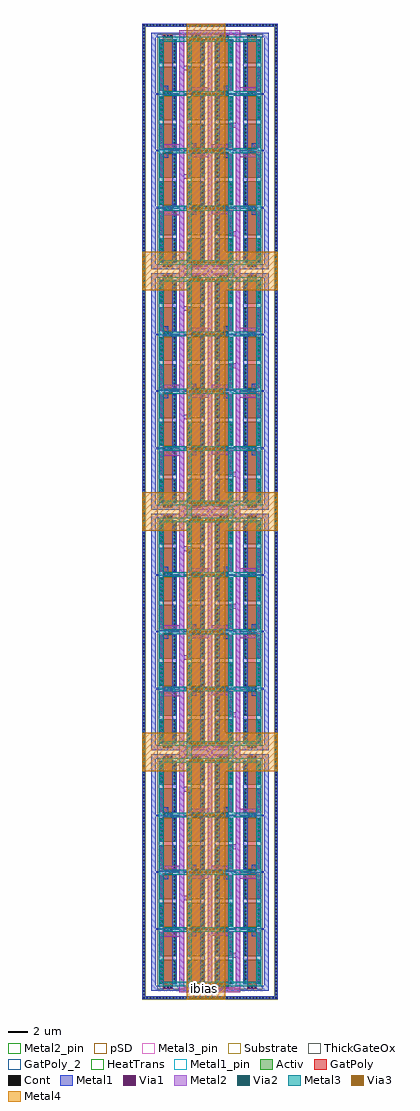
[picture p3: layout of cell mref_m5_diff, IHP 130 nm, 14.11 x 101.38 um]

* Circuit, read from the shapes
.subckt mref_m5_diff avss ibias tail
XM1 n1 ibias avss avss sg13_hv_nmos w=2.5u l=1u
XM2 n1 ibias tail avss sg13_hv_nmos w=2.5u l=1u
XM3 n2 ibias avss avss sg13_hv_nmos w=2.5u l=1u
XM4 n2 ibias ibias avss sg13_hv_nmos w=2.5u l=1u
XM5 n3 ibias tail avss sg13_hv_nmos w=2.5u l=1u
XM6 n3 ibias avss avss sg13_hv_nmos w=2.5u l=1u
XM7 n4 ibias ibias avss sg13_hv_nmos w=2.5u l=1u
XM8 n4 ibias avss avss sg13_hv_nmos w=2.5u l=1u
XM9 n5 ibias avss avss sg13_hv_nmos w=2.5u l=1u
XM10 n5 ibias tail avss sg13_hv_nmos w=2.5u l=1u
XM11 n6 ibias avss avss sg13_hv_nmos w=2.5u l=1u
XM12 n6 ibias ibias avss sg13_hv_nmos w=2.5u l=1u
XM13 n7 ibias tail avss sg13_hv_nmos w=2.5u l=1u
XM14 n7 ibias avss avss sg13_hv_nmos w=2.5u l=1u
XM15 n8 ibias ibias avss sg13_hv_nmos w=2.5u l=1u
XM16 n8 ibias avss avss sg13_hv_nmos w=2.5u l=1u
XM17 n9 ibias avss avss sg13_hv_nmos w=2.5u l=1u
XM18 n9 ibias tail avss sg13_hv_nmos w=2.5u l=1u
XM19 n10 ibias avss avss sg13_hv_nmos w=2.5u l=1u
XM20 n10 ibias ibias avss sg13_hv_nmos w=2.5u l=1u
XM21 n11 ibias tail avss sg13_hv_nmos w=2.5u l=1u
XM22 n11 ibias avss avss sg13_hv_nmos w=2.5u l=1u
XM23 n12 ibias ibias avss sg13_hv_nmos w=2.5u l=1u
XM24 n12 ibias avss avss sg13_hv_nmos w=2.5u l=1u
XM25 n13 ibias avss avss sg13_hv_nmos w=2.5u l=1u
XM26 n13 ibias tail avss sg13_hv_nmos w=2.5u l=1u
XM27 n14 ibias avss avss sg13_hv_nmos w=2.5u l=1u
XM28 n14 ibias ibias avss sg13_hv_nmos w=2.5u l=1u
XM29 n15 ibias tail avss sg13_hv_nmos w=2.5u l=1u
XM30 n15 ibias avss avss sg13_hv_nmos w=2.5u l=1u
XM31 n16 ibias ibias avss sg13_hv_nmos w=2.5u l=1u
XM32 n16 ibias avss avss sg13_hv_nmos w=2.5u l=1u
XM33 n17 ibias avss avss sg13_hv_nmos w=2.5u l=1u
XM34 n17 ibias ibias avss sg13_hv_nmos w=2.5u l=1u
XM35 n18 ibias avss avss sg13_hv_nmos w=2.5u l=1u
XM36 n18 ibias tail avss sg13_hv_nmos w=2.5u l=1u
XM37 n19 ibias ibias avss sg13_hv_nmos w=2.5u l=1u
XM38 n19 ibias avss avss sg13_hv_nmos w=2.5u l=1u
XM39 n20 ibias tail avss sg13_hv_nmos w=2.5u l=1u
XM40 n20 ibias avss avss sg13_hv_nmos w=2.5u l=1u
XM41 n21 ibias avss avss sg13_hv_nmos w=2.5u l=1u
XM42 n21 ibias ibias avss sg13_hv_nmos w=2.5u l=1u
XM43 n22 ibias avss avss sg13_hv_nmos w=2.5u l=1u
XM44 n22 ibias tail avss sg13_hv_nmos w=2.5u l=1u
XM45 n23 ibias ibias avss sg13_hv_nmos w=2.5u l=1u
XM46 n23 ibias avss avss sg13_hv_nmos w=2.5u l=1u
XM47 n24 ibias tail avss sg13_hv_nmos w=2.5u l=1u
XM48 n24 ibias avss avss sg13_hv_nmos w=2.5u l=1u
XM49 n25 ibias avss avss sg13_hv_nmos w=2.5u l=1u
XM50 n25 ibias ibias avss sg13_hv_nmos w=2.5u l=1u
XM51 n26 ibias avss avss sg13_hv_nmos w=2.5u l=1u
XM52 n26 ibias tail avss sg13_hv_nmos w=2.5u l=1u
XM53 n27 ibias ibias avss sg13_hv_nmos w=2.5u l=1u
XM54 n27 ibias avss avss sg13_hv_nmos w=2.5u l=1u
XM55 n28 ibias tail avss sg13_hv_nmos w=2.5u l=1u
XM56 n28 ibias avss avss sg13_hv_nmos w=2.5u l=1u
XM57 n29 ibias avss avss sg13_hv_nmos w=2.5u l=1u
XM58 n29 ibias ibias avss sg13_hv_nmos w=2.5u l=1u
XM59 n30 ibias avss avss sg13_hv_nmos w=2.5u l=1u
XM60 n30 ibias tail avss sg13_hv_nmos w=2.5u l=1u
XM61 n31 ibias ibias avss sg13_hv_nmos w=2.5u l=1u
XM62 n31 ibias avss avss sg13_hv_nmos w=2.5u l=1u
XM63 n32 ibias tail avss sg13_hv_nmos w=2.5u l=1u
XM64 n32 ibias avss avss sg13_hv_nmos w=2.5u l=1u
XM65 avss ibias n33 avss sg13_hv_nmos w=2.5u l=1u
XM66 tail ibias n33 avss sg13_hv_nmos w=2.5u l=1u
XM67 avss ibias n34 avss sg13_hv_nmos w=2.5u l=1u
XM68 ibias ibias n34 avss sg13_hv_nmos w=2.5u l=1u
XM69 tail ibias n35 avss sg13_hv_nmos w=2.5u l=1u
XM70 avss ibias n35 avss sg13_hv_nmos w=2.5u l=1u
XM71 ibias ibias n36 avss sg13_hv_nmos w=2.5u l=1u
XM72 avss ibias n36 avss sg13_hv_nmos w=2.5u l=1u
XM73 avss ibias n37 avss sg13_hv_nmos w=2.5u l=1u
XM74 tail ibias n37 avss sg13_hv_nmos w=2.5u l=1u
XM75 avss ibias n38 avss sg13_hv_nmos w=2.5u l=1u
XM76 ibias ibias n38 avss sg13_hv_nmos w=2.5u l=1u
XM77 tail ibias n39 avss sg13_hv_nmos w=2.5u l=1u
XM78 avss ibias n39 avss sg13_hv_nmos w=2.5u l=1u
XM79 ibias ibias n40 avss sg13_hv_nmos w=2.5u l=1u
XM80 avss ibias n40 avss sg13_hv_nmos w=2.5u l=1u
XM81 avss ibias n41 avss sg13_hv_nmos w=2.5u l=1u
XM82 tail ibias n41 avss sg13_hv_nmos w=2.5u l=1u
XM83 avss ibias n42 avss sg13_hv_nmos w=2.5u l=1u
XM84 ibias ibias n42 avss sg13_hv_nmos w=2.5u l=1u
XM85 tail ibias n43 avss sg13_hv_nmos w=2.5u l=1u
XM86 avss ibias n43 avss sg13_hv_nmos w=2.5u l=1u
XM87 ibias ibias n44 avss sg13_hv_nmos w=2.5u l=1u
XM88 avss ibias n44 avss sg13_hv_nmos w=2.5u l=1u
XM89 avss ibias n45 avss sg13_hv_nmos w=2.5u l=1u
XM90 tail ibias n45 avss sg13_hv_nmos w=2.5u l=1u
XM91 avss ibias n46 avss sg13_hv_nmos w=2.5u l=1u
XM92 ibias ibias n46 avss sg13_hv_nmos w=2.5u l=1u
XM93 tail ibias n47 avss sg13_hv_nmos w=2.5u l=1u
XM94 avss ibias n47 avss sg13_hv_nmos w=2.5u l=1u
XM95 ibias ibias n48 avss sg13_hv_nmos w=2.5u l=1u
XM96 avss ibias n48 avss sg13_hv_nmos w=2.5u l=1u
XM97 avss ibias n49 avss sg13_hv_nmos w=2.5u l=1u
XM98 ibias ibias n49 avss sg13_hv_nmos w=2.5u l=1u
XM99 avss ibias n50 avss sg13_hv_nmos w=2.5u l=1u
XM100 tail ibias n50 avss sg13_hv_nmos w=2.5u l=1u
XM101 ibias ibias n51 avss sg13_hv_nmos w=2.5u l=1u
XM102 avss ibias n51 avss sg13_hv_nmos w=2.5u l=1u
XM103 tail ibias n52 avss sg13_hv_nmos w=2.5u l=1u
XM104 avss ibias n52 avss sg13_hv_nmos w=2.5u l=1u
XM105 avss ibias n53 avss sg13_hv_nmos w=2.5u l=1u
XM106 ibias ibias n53 avss sg13_hv_nmos w=2.5u l=1u
XM107 avss ibias n54 avss sg13_hv_nmos w=2.5u l=1u
XM108 tail ibias n54 avss sg13_hv_nmos w=2.5u l=1u
XM109 ibias ibias n55 avss sg13_hv_nmos w=2.5u l=1u
XM110 avss ibias n55 avss sg13_hv_nmos w=2.5u l=1u
XM111 tail ibias n56 avss sg13_hv_nmos w=2.5u l=1u
XM112 avss ibias n56 avss sg13_hv_nmos w=2.5u l=1u
XM113 avss ibias n57 avss sg13_hv_nmos w=2.5u l=1u
XM114 ibias ibias n57 avss sg13_hv_nmos w=2.5u l=1u
XM115 avss ibias n58 avss sg13_hv_nmos w=2.5u l=1u
XM116 tail ibias n58 avss sg13_hv_nmos w=2.5u l=1u
XM117 ibias ibias n59 avss sg13_hv_nmos w=2.5u l=1u
XM118 avss ibias n59 avss sg13_hv_nmos w=2.5u l=1u
XM119 tail ibias n60 avss sg13_hv_nmos w=2.5u l=1u
XM120 avss ibias n60 avss sg13_hv_nmos w=2.5u l=1u
XM121 avss ibias n61 avss sg13_hv_nmos w=2.5u l=1u
XM122 ibias ibias n61 avss sg13_hv_nmos w=2.5u l=1u
XM123 avss ibias n62 avss sg13_hv_nmos w=2.5u l=1u
XM124 tail ibias n62 avss sg13_hv_nmos w=2.5u l=1u
XM125 ibias ibias n63 avss sg13_hv_nmos w=2.5u l=1u
XM126 avss ibias n63 avss sg13_hv_nmos w=2.5u l=1u
XM127 tail ibias n64 avss sg13_hv_nmos w=2.5u l=1u
XM128 avss ibias n64 avss sg13_hv_nmos w=2.5u l=1u
.ends

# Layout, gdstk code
from math import pi, radians
import gdstk
lib = gdstk.Library(unit=1e-6, precision=1e-09)
def R(c, l, rs):  # rectangles x0, y0, x1, y1
    for r in rs: c.add(gdstk.rectangle(r[:2], r[2:], *l))
def A(c, l, x, y, w, h, nx, ny, dx, dy):  # array of equal rectangles
    R(c, l, [(x+i*dx, y+j*dy, x+i*dx+w, y+j*dy+h) for i in range(nx) for j in range(ny)])
def P(c, l, *ps):  # polygons
    for p in ps: c.add(gdstk.Polygon(p, *l))
Activ = (1, 0)
GatPoly = (5, 0)
GatPoly_2 = (5, 2)
Cont = (6, 0)
Metal1 = (8, 0)
Metal1_pin = (8, 2)
Metal2 = (10, 0)
Metal2_pin = (10, 2)
pSD = (14, 0)
Via1 = (19, 0)
Via2 = (29, 0)
Metal3 = (30, 0)
Metal3_pin = (30, 2)
Substrate = (40, 0)
ThickGateOx = (44, 0)
Via3 = (49, 0)
Metal4 = (50, 0)
HeatTrans = (51, 0)

nmoshv = lib.new_cell('nmosHV')
R(nmoshv, Activ, [(0,0,0.3,0.3), (0,0,1.68,2.5), (1.38,0,1.68,0.3)])
R(nmoshv, GatPoly, [(0.34,-0.18,1.34,2.68)])
R(nmoshv, GatPoly_2, [(0.34,-0.18,1.34,2.68)])
A(nmoshv, Cont, 0.07, 0.07, 0.16, 0.16, 1, 3, 0, 0.365)
A(nmoshv, Cont, 1.45, 0.07, 0.16, 0.16, 1, 3, 0, 0.365)
A(nmoshv, Cont, 0.07, 1.17, 0.16, 0.16, 1, 3, 0, 0.365)
A(nmoshv, Cont, 1.45, 1.17, 0.16, 0.16, 1, 3, 0, 0.365)
R(nmoshv, Cont, [(0.07,2.27,0.23,2.43), (1.45,2.27,1.61,2.43)])
R(nmoshv, Metal1, [(0.07,0,0.23,2.5), (1.45,0,1.61,2.5)])
R(nmoshv, Metal1_pin, [(0.07,0,0.23,2.5), (1.45,0,1.61,2.5)])
R(nmoshv, ThickGateOx, [(-0.27,-0.52,1.95,3.02)])
R(nmoshv, HeatTrans, [(0.34,-0.18,1.34,2.68)])
nmoshv.add(gdstk.Label('nmosHV', (0.84,1.25), layer=63, texttype=0))
nmoshv.add(gdstk.Label('nmosHV', (0.84,1.25), layer=51, texttype=0))

via_stack = lib.new_cell('via_stack')
R(via_stack, Metal1, [(-0.105,-1.17,0.105,1.17)])
R(via_stack, Metal2, [(-0.1,-1.17,0.1,1.17)])
A(via_stack, Via1, -0.095, -1.12, 0.19, 0.19, 1, 6, 0, 0.41)
A(via_stack, Via2, -0.095, -1.12, 0.19, 0.19, 1, 6, 0, 0.41)
R(via_stack, Metal3, [(-0.1,-1.17,0.1,1.17)])

via_stack_1 = lib.new_cell('via_stack$1')
R(via_stack_1, Metal1, [(-0.105,-1.17,0.105,1.17)])
R(via_stack_1, Metal2, [(-0.1,-1.17,0.1,1.17)])
A(via_stack_1, Via1, -0.095, -1.12, 0.19, 0.19, 1, 6, 0, 0.41)

via_stack_3 = lib.new_cell('via_stack$3')
R(via_stack_3, GatPoly, [(-0.49,-0.15,0.49,0.15)])
A(via_stack_3, Cont, -0.42, -0.08, 0.16, 0.16, 3, 1, 0.34, 0)
R(via_stack_3, Metal1, [(-0.47,-0.08,0.47,0.08)])

n1_2_1 = lib.new_cell('n1_2$1')
R(n1_2_1, GatPoly, [(0.34,5.54,0.35,5.84), (1.33,5.54,1.34,5.84)])
R(n1_2_1, GatPoly_2, [(0.73,2.615,0.86,2.745)])
R(n1_2_1, Metal1_pin, [(0.085,1.265,0.215,1.395), (0.085,4.05,0.215,4.18)])
n1_2_1.add(gdstk.FlexPath([(1.53,5.36),(1.53,0)], 0.5, ends="flush", simple_path=True, layer=8, datatype=0))  # Metal1
n1_2_1.add(gdstk.FlexPath([(0.15,2.86),(0.15,5.36)], 0.5, ends="flush", simple_path=True, layer=8, datatype=0))  # Metal1
n1_2_1.add(gdstk.FlexPath([(0.15,0),(0.15,2.5)], 0.5, ends="flush", simple_path=True, layer=8, datatype=0))  # Metal1
n1_2_1.add(gdstk.Reference(nmoshv, (0,2.86)))
n1_2_1.add(gdstk.Reference(nmoshv, (0,0)))
n1_2_1.add(gdstk.Reference(via_stack, (0.15,4.19)))
n1_2_1.add(gdstk.Reference(via_stack_1, (0.155,1.17)))
n1_2_1.add(gdstk.Reference(via_stack_3, (0.84,5.69), rotation=pi))
n1_2_1.add(gdstk.Label('D', (0.15,1.33), layer=8, texttype=25))
n1_2_1.add(gdstk.Label('S', (0.15,4.115), layer=8, texttype=25))
n1_2_1.add(gdstk.Label('G', (0.795,2.68), layer=5, texttype=1))

mref_m5_array = lib.new_cell('mref_m5_array')
R(mref_m5_array, Metal1, [(10.07,5.36,10.54,5.61), (10.09,5.61,10.095,5.77), (-0.1,11.325,0.37,11.49), (7.15,11.325,7.62,11.49), (2.82,11.65,3.29,11.815), (10.07,11.65,10.54,11.815), (-0.1,17.6,0.37,17.765), (7.15,17.6,7.62,17.765)])
R(mref_m5_array, Metal3, [(10.29,-0.25,10.54,0), (10.29,23.21,10.54,23.46)])
mref_m5_array.add(gdstk.FlexPath([(0.37,17.52),(10.07,17.52)], 0.16, ends="flush", simple_path=True, layer=8, datatype=0))  # Metal1
mref_m5_array.add(gdstk.FlexPath([(0.37,11.57),(10.07,11.57)], 0.16, ends="flush", simple_path=True, layer=8, datatype=0))  # Metal1
mref_m5_array.add(gdstk.FlexPath([(0.37,23.64),(10.07,23.64)], 0.5, ends="flush", simple_path=True, layer=8, datatype=0))  # Metal1
mref_m5_array.add(gdstk.FlexPath([(10.09,-0.43),(0.37,-0.43)], 0.5, ends="flush", simple_path=True, layer=8, datatype=0))  # Metal1
mref_m5_array.add(gdstk.FlexPath([(2.3,-0.41),(2.3,23.55)], 0.5, ends="flush", simple_path=True, layer=8, datatype=0))  # Metal1
mref_m5_array.add(gdstk.FlexPath([(5.22,-0.41),(5.22,23.55)], 0.5, ends="flush", simple_path=True, layer=8, datatype=0))  # Metal1
mref_m5_array.add(gdstk.FlexPath([(8.14,-0.41),(8.14,23.55)], 0.5, ends="flush", simple_path=True, layer=8, datatype=0))  # Metal1
mref_m5_array.add(gdstk.FlexPath([(0.37,5.69),(10.09,5.69)], 0.16, ends="flush", simple_path=True, layer=8, datatype=0))  # Metal1
mref_m5_array.add(gdstk.FlexPath([(-0.1,18.015),(0.62,18.015),(0.62,17.44)], 0.5, ends="flush", simple_path=True, layer=8, datatype=0))  # Metal1
mref_m5_array.add(gdstk.FlexPath([(7.62,18.015),(6.9,18.015),(6.9,17.44)], 0.5, ends="flush", simple_path=True, layer=8, datatype=0))  # Metal1
mref_m5_array.add(gdstk.FlexPath([(2.82,12.065),(3.54,12.065),(3.54,11.49)], 0.5, ends="flush", simple_path=True, layer=8, datatype=0))  # Metal1
mref_m5_array.add(gdstk.FlexPath([(-0.1,11.075),(0.62,11.075),(0.62,11.65)], 0.5, ends="flush", simple_path=True, layer=8, datatype=0))  # Metal1
mref_m5_array.add(gdstk.FlexPath([(7.62,11.075),(6.9,11.075),(6.9,11.65)], 0.5, ends="flush", simple_path=True, layer=8, datatype=0))  # Metal1
mref_m5_array.add(gdstk.FlexPath([(2.82,5.11),(3.54,5.11),(3.54,5.685)], 0.5, ends="flush", simple_path=True, layer=8, datatype=0))  # Metal1
mref_m5_array.add(gdstk.FlexPath([(10.54,5.11),(9.82,5.11),(9.82,5.685)], 0.5, ends="flush", simple_path=True, layer=8, datatype=0))  # Metal1
mref_m5_array.add(gdstk.FlexPath([(0.37,-0.43),(-0.65,-0.43),(-0.65,1.64),(-0.65,1.64),(-0.65,23.64),(0.37,23.64)], 0.5, ends="flush", simple_path=True, layer=8, datatype=0))  # Metal1
mref_m5_array.add(gdstk.FlexPath([(10.07,-0.43),(11.09,-0.43),(11.09,1.64),(11.09,1.64),(11.09,23.64),(10.07,23.64)], 0.5, ends="flush", simple_path=True, layer=8, datatype=0))  # Metal1
mref_m5_array.add(gdstk.FlexPath([(10.07,17.52),(11.09,17.52)], 0.16, ends="flush", simple_path=True, layer=8, datatype=0))  # Metal1
mref_m5_array.add(gdstk.FlexPath([(10.07,11.57),(11.09,11.57)], 0.16, ends="flush", simple_path=True, layer=8, datatype=0))  # Metal1
mref_m5_array.add(gdstk.FlexPath([(10.095,5.69),(11.34,5.69)], 0.16, ends="flush", simple_path=True, layer=8, datatype=0))  # Metal1
mref_m5_array.add(gdstk.FlexPath([(0.37,5.69),(-0.4,5.69)], 0.16, ends="flush", simple_path=True, layer=8, datatype=0))  # Metal1
mref_m5_array.add(gdstk.FlexPath([(0.37,11.57),(-0.65,11.57)], 0.16, ends="flush", simple_path=True, layer=8, datatype=0))  # Metal1
mref_m5_array.add(gdstk.FlexPath([(0.37,17.52),(-0.65,17.52)], 0.16, ends="flush", simple_path=True, layer=8, datatype=0))  # Metal1
mref_m5_array.add(gdstk.FlexPath([(10.54,12.065),(9.82,12.065),(9.82,11.49)], 0.5, ends="flush", simple_path=True, layer=8, datatype=0))  # Metal1
mref_m5_array.add(gdstk.FlexPath([(2.3,23.55),(2.3,-0.68)], 0.5, ends="flush", simple_path=True, layer=10, datatype=0))  # Metal2
mref_m5_array.add(gdstk.FlexPath([(5.22,23.55),(5.22,-0.68)], 0.5, ends="flush", simple_path=True, layer=10, datatype=0))  # Metal2
mref_m5_array.add(gdstk.FlexPath([(8.14,23.55),(8.14,-0.41)], 0.5, ends="flush", simple_path=True, layer=10, datatype=0))  # Metal2
mref_m5_array.add(gdstk.FlexPath([(10.29,20.28),(10.29,18.055),(8.14,18.055)], 0.5, ends="flush", simple_path=True, layer=10, datatype=0))  # Metal2
mref_m5_array.add(gdstk.FlexPath([(10.29,8.97),(10.29,11.195),(8.14,11.195)], 0.5, ends="flush", simple_path=True, layer=10, datatype=0))  # Metal2
mref_m5_array.add(gdstk.FlexPath([(0.155,3.02),(0.155,5.245),(2.305,5.245)], 0.5, ends="flush", simple_path=True, layer=10, datatype=0))  # Metal2
mref_m5_array.add(gdstk.FlexPath([(7.37,3.02),(7.37,5.245),(5.22,5.245)], 0.5, ends="flush", simple_path=True, layer=10, datatype=0))  # Metal2
mref_m5_array.add(gdstk.FlexPath([(0.155,14.24),(0.155,12.015),(2.305,12.015)], 0.5, ends="flush", simple_path=True, layer=10, datatype=0))  # Metal2
mref_m5_array.add(gdstk.FlexPath([(2.05,-0.68),(8.14,-0.68),(8.14,-0.41)], 0.5, ends="flush", simple_path=True, layer=10, datatype=0))  # Metal2
mref_m5_array.add(gdstk.FlexPath([(2.05,23.8),(8.14,23.8),(8.14,23.53)], 0.5, ends="flush", simple_path=True, layer=10, datatype=0))  # Metal2
mref_m5_array.add(gdstk.FlexPath([(3.075,8.97),(3.075,11.195),(5.225,11.195)], 0.5, ends="flush", simple_path=True, layer=10, datatype=0))  # Metal2
mref_m5_array.add(gdstk.FlexPath([(3.075,20.19),(3.075,17.965),(5.225,17.965)], 0.5, ends="flush", simple_path=True, layer=10, datatype=0))  # Metal2
mref_m5_array.add(gdstk.FlexPath([(3.075,8.97),(3.075,8.945),(2.3,8.945),(2.3,8.945)], 0.5, ends="flush", simple_path=True, layer=10, datatype=0))  # Metal2
mref_m5_array.add(gdstk.FlexPath([(7.37,3.02),(7.37,2.995),(8.145,2.995),(8.145,2.995)], 0.5, ends="flush", simple_path=True, layer=10, datatype=0))  # Metal2
mref_m5_array.add(gdstk.FlexPath([(7.37,14.25),(7.37,12.025),(5.22,12.025)], 0.5, ends="flush", simple_path=True, layer=10, datatype=0))  # Metal2
mref_m5_array.add(gdstk.FlexPath([(7.37,14.25),(7.37,14.275),(8.145,14.275),(8.145,14.275)], 0.5, ends="flush", simple_path=True, layer=10, datatype=0))  # Metal2
mref_m5_array.add(gdstk.FlexPath([(3.075,20.19),(3.075,20.215),(2.3,20.215),(2.3,20.215)], 0.5, ends="flush", simple_path=True, layer=10, datatype=0))  # Metal2
mref_m5_array.add(gdstk.FlexPath([(0.15,23.21),(0.15,0)], 0.5, ends="flush", simple_path=True, layer=30, datatype=0))  # Metal3
mref_m5_array.add(gdstk.FlexPath([(3.07,0),(3.07,23.21)], 0.5, ends="flush", simple_path=True, layer=30, datatype=0))  # Metal3
mref_m5_array.add(gdstk.FlexPath([(7.37,23.21),(7.37,0)], 0.5, ends="flush", simple_path=True, layer=30, datatype=0))  # Metal3
mref_m5_array.add(gdstk.FlexPath([(10.54,5.66),(-0.1,5.66)], 0.5, ends="flush", simple_path=True, layer=30, datatype=0))  # Metal3
mref_m5_array.add(gdstk.FlexPath([(-0.1,11.595),(10.54,11.595)], 0.5, ends="flush", simple_path=True, layer=30, datatype=0))  # Metal3
mref_m5_array.add(gdstk.FlexPath([(10.54,17.555),(-0.1,17.555)], 0.5, ends="flush", simple_path=True, layer=30, datatype=0))  # Metal3
mref_m5_array.add(gdstk.FlexPath([(10.29,0),(10.29,23.21)], 0.5, ends="flush", simple_path=True, layer=30, datatype=0))  # Metal3
mref_m5_array.add(gdstk.FlexPath([(10.29,23.21),(10.29,23.21),(-0.1,23.21)], 0.5, ends="flush", simple_path=True, layer=30, datatype=0))  # Metal3
mref_m5_array.add(gdstk.FlexPath([(10.29,0),(10.29,0),(-0.1,0)], 0.5, ends="flush", simple_path=True, layer=30, datatype=0))  # Metal3
mref_m5_array.add(gdstk.Reference(n1_2_1, (0,5.36), x_reflection=True))
mref_m5_array.add(gdstk.Reference(n1_2_1, (2.92,5.36), x_reflection=True))
mref_m5_array.add(gdstk.Reference(n1_2_1, (10.44,5.36), rotation=pi))
mref_m5_array.add(gdstk.Reference(n1_2_1, (7.52,5.36), rotation=pi))
mref_m5_array.add(gdstk.Reference(n1_2_1, (0,11.9)))
mref_m5_array.add(gdstk.Reference(n1_2_1, (2.92,11.9)))
mref_m5_array.add(gdstk.Reference(n1_2_1, (10.44,11.9), rotation=pi, x_reflection=True))
mref_m5_array.add(gdstk.Reference(n1_2_1, (7.52,11.9), rotation=pi, x_reflection=True))
mref_m5_array.add(gdstk.Reference(n1_2_1, (7.52,11.31), rotation=pi))
mref_m5_array.add(gdstk.Reference(n1_2_1, (10.44,11.31), rotation=pi))
mref_m5_array.add(gdstk.Reference(n1_2_1, (2.92,11.31), x_reflection=True))
mref_m5_array.add(gdstk.Reference(n1_2_1, (7.52,17.85), rotation=pi, x_reflection=True))
mref_m5_array.add(gdstk.Reference(n1_2_1, (10.44,17.85), rotation=pi, x_reflection=True))
mref_m5_array.add(gdstk.Reference(n1_2_1, (2.92,17.85)))
mref_m5_array.add(gdstk.Reference(n1_2_1, (0,17.85)))
mref_m5_array.add(gdstk.Reference(n1_2_1, (0,11.31), x_reflection=True))

guard_ring_2 = lib.new_cell('guard_ring$2')
R(guard_ring_2, Activ, [(-7.025,-50.36,-6.725,50.36), (6.725,-50.36,7.025,50.36), (-7.025,50.36,7.025,50.66)])
P(guard_ring_2, Activ, [(-7.025,-50.66),(-7.025,50.36),(-6.725,50.36),(-6.725,-50.36),(6.725,-50.36),(6.725,50.36),(-7.025,50.36),(-7.025,50.66),(7.025,50.66),(7.025,-50.66)])
A(guard_ring_2, Cont, -6.955, -50.59, 0.16, 0.16, 20, 2, 0.34, 101.02)
A(guard_ring_2, Cont, -0.005, -50.59, 0.16, 0.16, 21, 2, 0.34, 101.02)
A(guard_ring_2, Cont, -6.955, -50.25, 0.16, 0.16, 1, 148, 0, 0.34)
A(guard_ring_2, Cont, 6.795, -50.25, 0.16, 0.16, 1, 148, 0, 0.34)
A(guard_ring_2, Cont, -6.955, 0.11, 0.16, 0.16, 1, 148, 0, 0.34)
A(guard_ring_2, Cont, 6.795, 0.11, 0.16, 0.16, 1, 148, 0, 0.34)
R(guard_ring_2, Metal1, [(-7.025,-50.66,7.025,-50.36), (-7.025,-50.36,-6.725,50.36), (6.725,-50.36,7.025,50.36), (-7.025,50.36,7.025,50.66)])
R(guard_ring_2, pSD, [(-7.055,-50.33,-6.695,50.33), (6.695,-50.33,7.055,50.33), (-7.055,50.33,7.055,50.69)])
P(guard_ring_2, pSD, [(-7.055,-50.69),(-7.055,50.33),(-6.695,50.33),(-6.695,-50.33),(6.695,-50.33),(6.695,50.33),(-7.055,50.33),(-7.055,50.69),(7.055,50.69),(7.055,-50.69)])
R(guard_ring_2, Substrate, [(-7.055,-50.33,-6.695,50.33), (6.695,-50.33,7.055,50.33), (-7.055,50.33,7.055,50.69)])
P(guard_ring_2, Substrate, [(-7.055,-50.69),(-7.055,50.33),(-6.695,50.33),(-6.695,-50.33),(6.695,-50.33),(6.695,50.33),(-7.055,50.33),(-7.055,50.69),(7.055,50.69),(7.055,-50.69)])
guard_ring_2.add(gdstk.Label('sub!', (0,-50.51), layer=63, texttype=0))

via_stack_7 = lib.new_cell('via_stack$7')
R(via_stack_7, Metal1, [(-1.785,-0.105,1.785,0.105)])
R(via_stack_7, Metal2, [(-1.785,-0.1,1.785,0.1)])
A(via_stack_7, Via1, -1.735, -0.095, 0.19, 0.19, 9, 1, 0.41, 0)
A(via_stack_7, Via2, -1.735, -0.095, 0.19, 0.19, 9, 1, 0.41, 0)
R(via_stack_7, Metal3, [(-1.785,-0.1,1.785,0.1)])
A(via_stack_7, Via3, -1.735, -0.095, 0.19, 0.19, 9, 1, 0.41, 0)
R(via_stack_7, Metal4, [(-1.785,-0.1,1.785,0.1)])

via_stack_8 = lib.new_cell('via_stack$8')
R(via_stack_8, Metal3, [(-1.785,-0.1,1.785,0.1)])
A(via_stack_8, Via3, -1.735, -0.095, 0.19, 0.19, 9, 1, 0.41, 0)
R(via_stack_8, Metal4, [(-1.785,-0.1,1.785,0.1)])

mref_m5_diff = lib.new_cell('mref_m5_diff')
R(mref_m5_diff, Metal1_pin, [(-5.875,-23.695,-5.745,-23.565)])
R(mref_m5_diff, Metal2_pin, [(-8.235,-22.84,-8.105,-22.71)])
R(mref_m5_diff, Metal3_pin, [(-6.8,-23.255,-6.67,-23.125)])
R(mref_m5_diff, ThickGateOx, [(-10.71,-23.73,0.27,75.46)])
mref_m5_diff.add(gdstk.FlexPath([(-8.14,1.43),(-8.14,0.41)], 0.5, ends="flush", simple_path=True, layer=8, datatype=0))  # Metal1
mref_m5_diff.add(gdstk.FlexPath([(-5.22,1.43),(-5.22,0.41)], 0.5, ends="flush", simple_path=True, layer=8, datatype=0))  # Metal1
mref_m5_diff.add(gdstk.FlexPath([(-2.3,1.43),(-2.3,0.41)], 0.5, ends="flush", simple_path=True, layer=8, datatype=0))  # Metal1
mref_m5_diff.add(gdstk.FlexPath([(-8.14,25.39),(-8.14,51.39)], 0.5, ends="flush", simple_path=True, layer=8, datatype=0))  # Metal1
mref_m5_diff.add(gdstk.FlexPath([(-5.22,51.39),(-5.22,25.39),(-5.22,25.39)], 0.5, ends="flush", simple_path=True, layer=8, datatype=0))  # Metal1
mref_m5_diff.add(gdstk.FlexPath([(-2.3,25.39),(-2.3,75.35)], 0.5, ends="flush", simple_path=True, layer=8, datatype=0))  # Metal1
mref_m5_diff.add(gdstk.FlexPath([(-7.37,0),(-7.37,1.77)], 0.5, ends="flush", simple_path=True, layer=30, datatype=0))  # Metal3
mref_m5_diff.add(gdstk.FlexPath([(-3.07,0),(-3.07,1.77)], 0.5, ends="flush", simple_path=True, layer=30, datatype=0))  # Metal3
mref_m5_diff.add(gdstk.FlexPath([(-7.37,26.75),(-7.37,24.98)], 0.5, ends="flush", simple_path=True, layer=30, datatype=0))  # Metal3
mref_m5_diff.add(gdstk.FlexPath([(-3.07,26.75),(-3.07,24.98)], 0.5, ends="flush", simple_path=True, layer=30, datatype=0))  # Metal3
mref_m5_diff.add(gdstk.FlexPath([(-3.07,51.73),(-3.07,49.96)], 0.5, ends="flush", simple_path=True, layer=30, datatype=0))  # Metal3
mref_m5_diff.add(gdstk.FlexPath([(-7.37,51.73),(-7.37,49.96)], 0.5, ends="flush", simple_path=True, layer=30, datatype=0))  # Metal3
mref_m5_diff.add(gdstk.FlexPath([(-5.63,-24.79),(-5.63,76.53)], 4, ends="flush", simple_path=True, layer=50, datatype=0))  # Metal4
mref_m5_diff.add(gdstk.FlexPath([(-7.63,50.86),(-12.24,50.86)], 4, ends="flush", simple_path=True, layer=50, datatype=0))  # Metal4
mref_m5_diff.add(gdstk.FlexPath([(-12.24,50.86),(1.81,50.86)], 4, ends="flush", simple_path=True, layer=50, datatype=0))  # Metal4
mref_m5_diff.add(gdstk.FlexPath([(-12.24,25.865),(1.81,25.865)], 4, ends="flush", simple_path=True, layer=50, datatype=0))  # Metal4
mref_m5_diff.add(gdstk.FlexPath([(-12.24,0.9),(1.81,0.9)], 4, ends="flush", simple_path=True, layer=50, datatype=0))  # Metal4
mref_m5_diff.add(gdstk.Reference(mref_m5_array, (0,24.98), rotation=pi))
mref_m5_diff.add(gdstk.Reference(mref_m5_array, (0,0), rotation=pi))
mref_m5_diff.add(gdstk.Reference(mref_m5_array, (0,49.96), rotation=pi))
mref_m5_diff.add(gdstk.Reference(mref_m5_array, (0,74.94), rotation=pi))
mref_m5_diff.add(gdstk.Reference(guard_ring_2, (-5.215,25.87), rotation=pi))
mref_m5_diff.add(gdstk.Reference(via_stack_7, (-5.63,-24.63), rotation=pi))
mref_m5_diff.add(gdstk.Reference(via_stack_8, (-5.63,-23.21), rotation=pi))
mref_m5_diff.add(gdstk.Reference(via_stack_8, (-5.63,-17.555), rotation=pi))
mref_m5_diff.add(gdstk.Reference(via_stack_8, (-5.63,-11.595), rotation=pi))
mref_m5_diff.add(gdstk.Reference(via_stack_8, (-5.63,-5.66), rotation=pi))
mref_m5_diff.add(gdstk.Reference(via_stack_8, (-5.63,0), rotation=pi))
mref_m5_diff.add(gdstk.Reference(via_stack_8, (-5.63,1.77), rotation=pi))
mref_m5_diff.add(gdstk.Reference(via_stack_8, (-5.63,7.425), rotation=pi))
mref_m5_diff.add(gdstk.Reference(via_stack_8, (-5.625,13.385), rotation=pi))
mref_m5_diff.add(gdstk.Reference(via_stack_8, (-5.63,19.32), rotation=pi))
mref_m5_diff.add(gdstk.Reference(via_stack_8, (-5.63,24.98), rotation=pi))
mref_m5_diff.add(gdstk.Reference(via_stack_8, (-5.63,26.75), rotation=pi))
mref_m5_diff.add(gdstk.Reference(via_stack_8, (-5.63,32.405), rotation=pi))
mref_m5_diff.add(gdstk.Reference(via_stack_8, (-5.63,38.365), rotation=pi))
mref_m5_diff.add(gdstk.Reference(via_stack_8, (-5.63,44.3), rotation=pi))
mref_m5_diff.add(gdstk.Reference(via_stack_8, (-5.63,49.96), rotation=pi))
mref_m5_diff.add(gdstk.Reference(via_stack_8, (-5.63,51.73), rotation=pi))
mref_m5_diff.add(gdstk.Reference(via_stack_8, (-5.63,57.385), rotation=pi))
mref_m5_diff.add(gdstk.Reference(via_stack_8, (-5.63,63.345), rotation=pi))
mref_m5_diff.add(gdstk.Reference(via_stack_8, (-5.63,69.28), rotation=pi))
mref_m5_diff.add(gdstk.Reference(via_stack_8, (-5.63,74.94), rotation=pi))
mref_m5_diff.add(gdstk.Reference(via_stack_7, (-12.1,0.9), rotation=3*pi/2))
mref_m5_diff.add(gdstk.Reference(via_stack_7, (1.67,0.9), rotation=3*pi/2))
mref_m5_diff.add(gdstk.Reference(via_stack_7, (1.66,25.865), rotation=3*pi/2))
mref_m5_diff.add(gdstk.Reference(via_stack_7, (-12.085,25.865), rotation=3*pi/2))
mref_m5_diff.add(gdstk.Reference(via_stack_7, (1.665,50.86), rotation=3*pi/2))
mref_m5_diff.add(gdstk.Reference(via_stack_7, (-12.1,50.86), rotation=3*pi/2))
mref_m5_diff.add(gdstk.Reference(via_stack_7, (-5.63,76.385), rotation=pi))
mref_m5_diff.add(gdstk.Label('ibias', (-5.81,-23.63), layer=8, texttype=25))
mref_m5_diff.add(gdstk.Label('avss', (-6.735,-23.19), layer=30, texttype=25))
mref_m5_diff.add(gdstk.Label('tail', (-8.17,-22.775), layer=10, texttype=25))

lib.write_gds('mref_m5_diff.gds')
